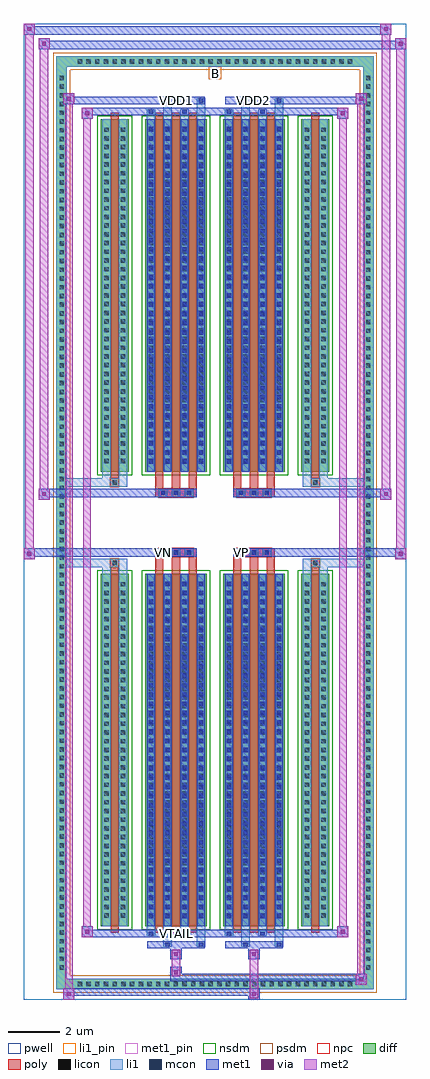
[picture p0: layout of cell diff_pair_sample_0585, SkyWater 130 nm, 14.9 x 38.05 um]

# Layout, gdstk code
import gdstk
lib = gdstk.Library(unit=1e-6, precision=5e-09)
def R(c, l, rs):  # rectangles x0, y0, x1, y1
    for r in rs: c.add(gdstk.rectangle(r[:2], r[2:], *l))
def A(c, l, x, y, w, h, nx, ny, dx, dy):  # array of equal rectangles
    R(c, l, [(x+i*dx, y+j*dy, x+i*dx+w, y+j*dy+h) for i in range(nx) for j in range(ny)])
def P(c, l, *ps):  # polygons
    for p in ps: c.add(gdstk.Polygon(p, *l))
pwell = (64, 44)
diff = (65, 20)
poly = (66, 20)
licon = (66, 44)
li1_pin = (67, 16)
li1 = (67, 20)
mcon = (67, 44)
met1_pin = (68, 16)
met1 = (68, 20)
via = (68, 44)
met2 = (69, 20)
nsdm = (93, 44)
psdm = (94, 20)
npc = (95, 20)

diff_pair_sample_0585 = lib.new_cell('diff_pair_sample_0585')
R(diff_pair_sample_0585, pwell, [(-7.45,-18.59,7.45,19.46), (-4.77,-16.78,-0.01,-0.8), (0.01,-16.78,4.77,-0.8), (-4.77,0.8,-0.01,16.78), (0.01,0.8,4.77,16.78)])
A(diff_pair_sample_0585, diff, -5.475, -18.19, 0.41, 0.41, 32, 2, 0.34, 35.97)
A(diff_pair_sample_0585, diff, -6.18, -17.545, 0.41, 0.41, 1, 103, 0, 0.34)
A(diff_pair_sample_0585, diff, 5.77, -17.545, 0.41, 0.41, 1, 103, 0, 0.34)
R(diff_pair_sample_0585, diff, [(-5.475,-18.19,5.475,-17.78), (-6.18,-17.545,-5.77,17.545), (5.77,-17.545,6.18,17.545), (-4.46,-15.735,-3.36,-1.985), (-2.72,-15.735,-0.32,-1.985), (0.32,-15.735,2.72,-1.985), (3.36,-15.735,4.46,-1.985), (-4.46,1.985,-3.36,15.735), (-2.72,1.985,-0.32,15.735), (0.32,1.985,2.72,15.735), (3.36,1.985,4.46,15.735), (-5.475,17.78,5.475,18.19)])
P(diff_pair_sample_0585, diff, [(6.18,18.19),(-6.18,18.19),(-6.18,-17.78),(-5.77,-17.78),(-5.77,17.78),(5.77,17.78),(5.77,-17.78),(-5.77,-17.78),(-6.18,-17.78),(-6.18,-18.19),(6.18,-18.19)])
A(diff_pair_sample_0585, poly, -2.33, -15.985, 0.32, 14.25, 3, 2, 0.65, 17.72)
A(diff_pair_sample_0585, poly, 0.71, -15.985, 0.32, 14.25, 3, 2, 0.65, 17.72)
A(diff_pair_sample_0585, poly, -2.33, -1.735, 0.32, 0.405, 3, 2, 0.65, 3.065)
A(diff_pair_sample_0585, poly, 0.71, -1.735, 0.32, 0.405, 3, 2, 0.65, 3.065)
A(diff_pair_sample_0585, poly, -2.185, -1.33, 0.33, 0.33, 3, 2, 0.5, 2.33)
A(diff_pair_sample_0585, poly, 0.855, -1.33, 0.33, 0.33, 3, 2, 0.5, 2.33)
R(diff_pair_sample_0585, poly, [(-4.07,-15.985,-3.75,-1.735), (3.75,-15.985,4.07,-1.735), (-4.075,-1.735,-3.745,-1.405), (-4.075,-1.735,-3.745,-1.405), (3.745,-1.735,4.075,-1.405), (3.745,-1.735,4.075,-1.405), (-2.33,-1.33,-0.71,-1), (0.71,-1.33,2.33,-1), (-2.33,1,-0.71,1.33), (0.71,1,2.33,1.33), (-4.075,1.405,-3.745,1.735), (-4.075,1.405,-3.745,1.735), (3.745,1.405,4.075,1.735), (3.745,1.405,4.075,1.735), (-4.07,1.735,-3.75,15.985), (3.75,1.735,4.07,15.985)])
A(diff_pair_sample_0585, licon, -5.355, -18.07, 0.17, 0.17, 32, 2, 0.34, 35.97)
A(diff_pair_sample_0585, licon, -6.06, -17.425, 0.17, 0.17, 1, 103, 0, 0.34)
A(diff_pair_sample_0585, licon, 5.89, -17.425, 0.17, 0.17, 1, 103, 0, 0.34)
A(diff_pair_sample_0585, licon, -4.32, -15.405, 0.17, 0.17, 1, 39, 0, 0.34)
A(diff_pair_sample_0585, licon, -3.67, -15.405, 0.17, 0.17, 1, 39, 0, 0.34)
A(diff_pair_sample_0585, licon, -2.58, -15.405, 0.17, 0.17, 4, 39, 0.65, 0.34)
A(diff_pair_sample_0585, licon, 0.46, -15.405, 0.17, 0.17, 4, 39, 0.65, 0.34)
A(diff_pair_sample_0585, licon, 3.5, -15.405, 0.17, 0.17, 1, 39, 0, 0.34)
A(diff_pair_sample_0585, licon, 4.15, -15.405, 0.17, 0.17, 1, 39, 0, 0.34)
A(diff_pair_sample_0585, licon, -2.105, -1.25, 0.17, 0.17, 3, 2, 0.5, 2.33)
A(diff_pair_sample_0585, licon, 0.935, -1.25, 0.17, 0.17, 3, 2, 0.5, 2.33)
A(diff_pair_sample_0585, licon, -4.32, 2.315, 0.17, 0.17, 1, 39, 0, 0.34)
A(diff_pair_sample_0585, licon, -3.67, 2.315, 0.17, 0.17, 1, 39, 0, 0.34)
A(diff_pair_sample_0585, licon, -2.58, 2.315, 0.17, 0.17, 4, 39, 0.65, 0.34)
A(diff_pair_sample_0585, licon, 0.46, 2.315, 0.17, 0.17, 4, 39, 0.65, 0.34)
A(diff_pair_sample_0585, licon, 3.5, 2.315, 0.17, 0.17, 1, 39, 0, 0.34)
A(diff_pair_sample_0585, licon, 4.15, 2.315, 0.17, 0.17, 1, 39, 0, 0.34)
R(diff_pair_sample_0585, licon, [(-3.995,-1.655,-3.825,-1.485), (3.825,-1.655,3.995,-1.485), (-3.995,1.485,-3.825,1.655), (3.825,1.485,3.995,1.655)])
R(diff_pair_sample_0585, li1_pin, [(-0.25,17.28,0.25,17.78)])
A(diff_pair_sample_0585, li1, -5.435, -18.15, 0.33, 0.33, 32, 2, 0.34, 35.97)
A(diff_pair_sample_0585, li1, -6.14, -17.505, 0.33, 0.33, 1, 103, 0, 0.34)
A(diff_pair_sample_0585, li1, 5.81, -17.505, 0.33, 0.33, 1, 103, 0, 0.34)
A(diff_pair_sample_0585, li1, -2.66, -15.735, 0.33, 13.75, 4, 2, 0.65, 17.72)
A(diff_pair_sample_0585, li1, 0.38, -15.735, 0.33, 13.75, 4, 2, 0.65, 17.72)
A(diff_pair_sample_0585, li1, -4.4, -15.485, 0.33, 0.33, 1, 39, 0, 0.34)
A(diff_pair_sample_0585, li1, -3.75, -15.485, 0.33, 0.33, 1, 39, 0, 0.34)
A(diff_pair_sample_0585, li1, -2.66, -15.485, 0.33, 0.33, 4, 39, 0.65, 0.34)
A(diff_pair_sample_0585, li1, 0.38, -15.485, 0.33, 0.33, 4, 39, 0.65, 0.34)
A(diff_pair_sample_0585, li1, 3.42, -15.485, 0.33, 0.33, 1, 39, 0, 0.34)
A(diff_pair_sample_0585, li1, 4.07, -15.485, 0.33, 0.33, 1, 39, 0, 0.34)
A(diff_pair_sample_0585, li1, -2.58, -15.425, 0.17, 0.17, 4, 37, 0.65, 0.36)
A(diff_pair_sample_0585, li1, -2.58, -15.425, 0.17, 13.13, 4, 2, 0.65, 17.72)
A(diff_pair_sample_0585, li1, 0.46, -15.425, 0.17, 0.17, 4, 37, 0.65, 0.36)
A(diff_pair_sample_0585, li1, 0.46, -15.425, 0.17, 13.13, 4, 2, 0.65, 17.72)
A(diff_pair_sample_0585, li1, -2.185, -1.33, 0.33, 0.33, 3, 2, 0.5, 2.33)
A(diff_pair_sample_0585, li1, 0.855, -1.33, 0.33, 0.33, 3, 2, 0.5, 2.33)
A(diff_pair_sample_0585, li1, -4.4, 2.235, 0.33, 0.33, 1, 39, 0, 0.34)
A(diff_pair_sample_0585, li1, -3.75, 2.235, 0.33, 0.33, 1, 39, 0, 0.34)
A(diff_pair_sample_0585, li1, -2.66, 2.235, 0.33, 0.33, 4, 39, 0.65, 0.34)
A(diff_pair_sample_0585, li1, 0.38, 2.235, 0.33, 0.33, 4, 39, 0.65, 0.34)
A(diff_pair_sample_0585, li1, 3.42, 2.235, 0.33, 0.33, 1, 39, 0, 0.34)
A(diff_pair_sample_0585, li1, 4.07, 2.235, 0.33, 0.33, 1, 39, 0, 0.34)
A(diff_pair_sample_0585, li1, -2.58, 2.295, 0.17, 0.17, 4, 37, 0.65, 0.36)
A(diff_pair_sample_0585, li1, 0.46, 2.295, 0.17, 0.17, 4, 37, 0.65, 0.36)
R(diff_pair_sample_0585, li1, [(-6.18,-18.19,-5.77,-17.78), (-6.18,-18.19,-5.77,-17.78), (-5.77,-18.19,5.77,-17.78), (5.77,-18.19,6.18,-17.78), (5.77,-18.19,6.18,-17.78), (-6.18,-17.78,-5.77,17.78), (5.77,-17.78,6.18,17.78), (-2.01,-16.54,-1.68,-15.735), (-1.93,-16.54,-1.76,-16.37), (-0.71,-16.54,-0.38,-15.735), (-0.63,-16.54,-0.46,-16.37), (1.03,-16.54,1.36,-15.735), (1.11,-16.54,1.28,-16.37), (2.33,-16.54,2.66,-15.735), (2.41,-16.54,2.58,-16.37), (-2.66,-16.11,-2.33,-15.735), (-2.58,-16.11,-2.41,-15.94), (-1.36,-16.11,-1.03,-15.735), (-1.28,-16.11,-1.11,-15.94), (0.38,-16.11,0.71,-15.735), (0.46,-16.11,0.63,-15.94), (1.68,-16.11,2.01,-15.735), (1.76,-16.11,1.93,-15.94), (-4.4,-15.735,-4.07,-1.985), (-3.75,-15.735,-3.42,-1.985), (3.42,-15.735,3.75,-1.985), (4.07,-15.735,4.4,-1.985), (-4.4,-1.985,-4.07,-1.405), (-3.75,-1.985,-3.42,-1.405), (3.42,-1.985,3.75,-1.405), (4.07,-1.985,4.4,-1.405), (-6.18,-1.735,-4.075,-1.405), (-4.4,-1.735,-4.075,-1.405), (-4.075,-1.735,-3.745,-1.405), (-3.745,-1.735,-3.42,-1.405), (3.42,-1.735,3.745,-1.405), (3.745,-1.735,4.075,-1.405), (3.745,-1.735,6.18,-1.405), (4.075,-1.735,4.4,-1.405), (-6.18,1.405,-4.075,1.735), (-4.4,1.405,-4.075,1.735), (-4.4,1.405,-4.07,1.985), (-4.075,1.405,-3.745,1.735), (-3.75,1.405,-3.42,1.985), (-3.745,1.405,-3.42,1.735), (3.42,1.405,3.745,1.735), (3.42,1.405,3.75,1.985), (3.745,1.405,4.075,1.735), (3.745,1.405,6.18,1.735), (4.07,1.405,4.4,1.985), (4.075,1.405,4.4,1.735), (-4.4,1.985,-4.07,15.735), (-3.75,1.985,-3.42,15.735), (3.42,1.985,3.75,15.735), (4.07,1.985,4.4,15.735), (-2.66,15.735,-2.33,16.11), (-2.01,15.735,-1.68,16.54), (-1.36,15.735,-1.03,16.11), (-0.71,15.735,-0.38,16.54), (0.38,15.735,0.71,16.11), (1.03,15.735,1.36,16.54), (1.68,15.735,2.01,16.11), (2.33,15.735,2.66,16.54), (-2.58,15.94,-2.41,16.11), (-1.28,15.94,-1.11,16.11), (0.46,15.94,0.63,16.11), (1.76,15.94,1.93,16.11), (-1.93,16.37,-1.76,16.54), (-0.63,16.37,-0.46,16.54), (1.11,16.37,1.28,16.54), (2.41,16.37,2.58,16.54), (-6.18,17.78,-5.77,18.19), (-6.18,17.78,-5.77,18.19), (-5.77,17.78,5.77,18.19), (5.77,17.78,6.18,18.19), (5.77,17.78,6.18,18.19)])
A(diff_pair_sample_0585, mcon, -2.58, -15.425, 0.17, 0.17, 4, 37, 0.65, 0.36)
A(diff_pair_sample_0585, mcon, 0.46, -15.425, 0.17, 0.17, 4, 37, 0.65, 0.36)
A(diff_pair_sample_0585, mcon, -2.105, -1.25, 0.17, 0.17, 3, 2, 0.5, 2.33)
A(diff_pair_sample_0585, mcon, 0.935, -1.25, 0.17, 0.17, 3, 2, 0.5, 2.33)
A(diff_pair_sample_0585, mcon, -2.58, 2.295, 0.17, 0.17, 4, 37, 0.65, 0.36)
A(diff_pair_sample_0585, mcon, 0.46, 2.295, 0.17, 0.17, 4, 37, 0.65, 0.36)
R(diff_pair_sample_0585, mcon, [(-1.93,-16.54,-1.76,-16.37), (-0.63,-16.54,-0.46,-16.37), (1.11,-16.54,1.28,-16.37), (2.41,-16.54,2.58,-16.37), (-2.58,-16.11,-2.41,-15.94), (-1.28,-16.11,-1.11,-15.94), (0.46,-16.11,0.63,-15.94), (1.76,-16.11,1.93,-15.94), (-2.58,15.94,-2.41,16.11), (-1.28,15.94,-1.11,16.11), (0.46,15.94,0.63,16.11), (1.76,15.94,1.93,16.11), (-1.93,16.37,-1.76,16.54), (-0.63,16.37,-0.46,16.54), (1.11,16.37,1.28,16.54), (2.41,16.37,2.58,16.54)])
R(diff_pair_sample_0585, met1_pin, [(-1.655,-16.15,-1.385,-15.88), (-2.155,-1.29,-1.885,-1.02), (0.885,-1.29,1.155,-1.02), (-1.655,16.33,-1.385,16.6), (1.385,16.33,1.655,16.6)])
A(diff_pair_sample_0585, met1, -2.64, -15.735, 0.29, 13.75, 4, 2, 0.65, 17.72)
A(diff_pair_sample_0585, met1, 0.4, -15.735, 0.29, 13.75, 4, 2, 0.65, 17.72)
A(diff_pair_sample_0585, met1, -2.64, -15.485, 0.29, 0.29, 4, 37, 0.65, 0.36)
A(diff_pair_sample_0585, met1, 0.4, -15.485, 0.29, 0.29, 4, 37, 0.65, 0.36)
A(diff_pair_sample_0585, met1, -2.165, -1.31, 0.29, 0.29, 3, 2, 0.5, 2.33)
A(diff_pair_sample_0585, met1, 0.875, -1.31, 0.29, 0.29, 3, 2, 0.5, 2.33)
A(diff_pair_sample_0585, met1, -2.64, 2.235, 0.29, 0.29, 4, 37, 0.65, 0.36)
A(diff_pair_sample_0585, met1, 0.4, 2.235, 0.29, 0.29, 4, 37, 0.65, 0.36)
R(diff_pair_sample_0585, met1, [(-5.91,-18.59,-5.48,-18.16), (1.305,-18.59,1.735,-18.16), (-5.91,-18.45,1.735,-18.16), (5.48,-18.02,5.91,-17.59), (-1.735,-17.88,5.91,-17.59), (-1.735,-17.74,-1.305,-17.31), (-1.735,-17.03,-1.305,-16.6), (1.305,-17.03,1.735,-16.6), (-2.64,-16.6,-0.4,-16.31), (-1.99,-16.6,-1.7,-16.31), (-0.69,-16.6,-0.4,-16.31), (0.4,-16.6,2.64,-16.31), (1.05,-16.6,1.34,-16.31), (2.35,-16.6,2.64,-16.31), (-5.2,-16.17,-4.77,-15.74), (-5.2,-16.17,-2.64,-15.88), (-2.64,-16.17,-2.35,-15.88), (-2.64,-16.17,-0.4,-15.88), (-1.34,-16.17,-1.05,-15.88), (-0.4,-16.17,0.4,-15.88), (0.4,-16.17,0.69,-15.88), (0.4,-16.17,2.64,-15.88), (1.7,-16.17,1.99,-15.88), (2.64,-16.17,5.2,-15.88), (4.77,-16.17,5.2,-15.74), (-7.45,-1.43,-7.02,-1), (7.02,-1.43,7.45,-1), (-7.45,-1.33,-0.71,-1), (-2.33,-1.33,-0.71,-1), (0.71,-1.33,2.33,-1), (0.71,-1.33,7.45,-1), (-6.88,0.9,-6.45,1.33), (6.45,0.9,6.88,1.33), (-6.88,1,-2.33,1.33), (-2.33,1,-0.71,1.33), (0.71,1,2.33,1.33), (2.33,1,6.88,1.33), (-5.2,15.74,-4.77,16.17), (4.77,15.74,5.2,16.17), (-5.2,15.88,-2.64,16.17), (-2.64,15.88,-2.35,16.17), (-2.64,15.88,-0.4,16.17), (-1.34,15.88,-1.05,16.17), (-0.4,15.88,0.4,16.17), (0.4,15.88,0.69,16.17), (0.4,15.88,2.64,16.17), (1.7,15.88,1.99,16.17), (2.64,15.88,5.2,16.17), (-5.91,16.31,-5.48,16.74), (-5.91,16.31,-2.64,16.6), (-2.64,16.31,-0.4,16.6), (-1.99,16.31,-1.7,16.6), (-0.69,16.31,-0.4,16.6), (0.4,16.31,2.64,16.6), (1.05,16.31,1.34,16.6), (2.35,16.31,2.64,16.6), (2.64,16.31,5.91,16.6), (5.48,16.31,5.91,16.74), (-6.88,18.46,-6.45,18.89), (-6.88,18.46,-4.77,18.79), (-4.77,18.46,4.77,18.79), (4.77,18.46,7.45,18.79), (7.02,18.46,7.45,18.89), (-7.45,19.03,-7.02,19.46), (-7.45,19.03,-4.77,19.36), (-4.77,19.03,4.77,19.36), (4.77,19.03,6.88,19.36), (6.45,19.03,6.88,19.46)])
R(diff_pair_sample_0585, via, [(-5.77,-18.45,-5.62,-18.3), (1.445,-18.45,1.595,-18.3), (5.62,-17.88,5.77,-17.73), (-1.595,-17.6,-1.445,-17.45), (-1.595,-16.89,-1.445,-16.74), (1.445,-16.89,1.595,-16.74), (-5.06,-16.03,-4.91,-15.88), (4.91,-16.03,5.06,-15.88), (-7.31,-1.29,-7.16,-1.14), (7.16,-1.29,7.31,-1.14), (-6.74,1.04,-6.59,1.19), (6.59,1.04,6.74,1.19), (-5.06,15.88,-4.91,16.03), (4.91,15.88,5.06,16.03), (-5.77,16.45,-5.62,16.6), (5.62,16.45,5.77,16.6), (-6.74,18.6,-6.59,18.75), (7.16,18.6,7.31,18.75), (-7.31,19.17,-7.16,19.32), (6.59,19.17,6.74,19.32)])
R(diff_pair_sample_0585, met2, [(-5.91,-18.59,-5.48,-18.16), (-5.84,-18.59,-5.55,16.74), (-5.55,-18.59,-5.48,-18.16), (-5.86,-18.54,-5.53,-18.21), (1.355,-18.54,1.685,-18.21), (1.355,-18.21,1.685,-16.98), (5.48,-18.02,5.91,-17.59), (5.55,-18.02,5.84,16.74), (5.84,-18.02,5.91,-17.59), (5.53,-17.97,5.86,-17.64), (-1.685,-17.69,-1.355,-17.36), (-1.685,-17.36,-1.355,-16.98), (-1.685,-16.98,-1.355,-16.65), (1.355,-16.98,1.685,-16.65), (-5.2,-16.17,-4.77,-15.74), (-5.13,-16.17,-4.84,16.17), (-4.84,-16.17,-4.77,-15.74), (4.77,-16.17,5.2,-15.74), (4.84,-16.17,5.13,16.17), (5.13,-16.17,5.2,-15.74), (-5.15,-16.12,-4.82,-15.79), (4.82,-16.12,5.15,-15.79), (-7.45,-1.43,-7.02,-1), (-7.4,-1.43,-7.07,19.46), (-7.07,-1.43,-7.02,-1), (7.02,-1.43,7.45,-1), (7.07,-1.43,7.4,18.89), (7.4,-1.43,7.45,-1), (-7.4,-1.38,-7.07,-1.05), (7.07,-1.38,7.4,-1.05), (-6.88,0.9,-6.45,1.33), (-6.83,0.9,-6.5,18.89), (-6.5,0.9,-6.45,1.33), (6.45,0.9,6.88,1.33), (6.5,0.9,6.83,19.46), (6.83,0.9,6.88,1.33), (-6.83,0.95,-6.5,1.28), (6.5,0.95,6.83,1.28), (-5.2,15.74,-4.77,16.17), (-4.84,15.74,-4.77,16.17), (4.77,15.74,5.2,16.17), (5.13,15.74,5.2,16.17), (-5.15,15.79,-4.82,16.12), (4.82,15.79,5.15,16.12), (-5.91,16.31,-5.48,16.74), (-5.55,16.31,-5.48,16.74), (5.48,16.31,5.91,16.74), (5.84,16.31,5.91,16.74), (-5.86,16.36,-5.53,16.69), (5.53,16.36,5.86,16.69), (-6.88,18.46,-6.45,18.89), (-6.5,18.46,-6.45,18.89), (7.02,18.46,7.45,18.89), (7.4,18.46,7.45,18.89), (-6.83,18.51,-6.5,18.84), (7.07,18.51,7.4,18.84), (-7.45,19.03,-7.02,19.46), (-7.07,19.03,-7.02,19.46), (6.45,19.03,6.88,19.46), (6.83,19.03,6.88,19.46), (-7.4,19.08,-7.07,19.41), (6.5,19.08,6.83,19.41)])
R(diff_pair_sample_0585, nsdm, [(-4.59,-15.865,-3.23,-1.855), (-2.85,-15.865,-0.19,-1.855), (0.19,-15.865,2.85,-1.855), (3.23,-15.865,4.59,-1.855), (-4.59,1.855,-3.23,15.865), (-2.85,1.855,-0.19,15.865), (0.19,1.855,2.85,15.865), (3.23,1.855,4.59,15.865)])
P(diff_pair_sample_0585, psdm, [(6.31,18.32),(-6.31,18.32),(-6.31,-17.65),(-5.64,-17.65),(-5.64,17.65),(5.64,17.65),(5.64,-17.65),(-5.64,-17.65),(-6.31,-17.65),(-6.31,-18.32),(6.31,-18.32)])
A(diff_pair_sample_0585, npc, -2.205, -1.35, 0.37, 0.37, 3, 2, 0.5, 2.33)
A(diff_pair_sample_0585, npc, 0.835, -1.35, 0.37, 0.37, 3, 2, 0.5, 2.33)
R(diff_pair_sample_0585, npc, [(-4.095,-1.755,-3.725,-1.385), (3.725,-1.755,4.095,-1.385), (-2.205,-1.35,-1.335,-0.98), (-2.205,-1.35,-1.335,-0.98), (-1.705,-1.35,-0.835,-0.98), (-1.705,-1.35,-0.835,-0.98), (0.835,-1.35,1.705,-0.98), (0.835,-1.35,1.705,-0.98), (1.335,-1.35,2.205,-0.98), (1.335,-1.35,2.205,-0.98), (-2.205,0.98,-1.335,1.35), (-2.205,0.98,-1.335,1.35), (-1.705,0.98,-0.835,1.35), (-1.705,0.98,-0.835,1.35), (0.835,0.98,1.705,1.35), (0.835,0.98,1.705,1.35), (1.335,0.98,2.205,1.35), (1.335,0.98,2.205,1.35), (-4.095,1.385,-3.725,1.755), (3.725,1.385,4.095,1.755)])
diff_pair_sample_0585.add(gdstk.Label('VTAIL', (-1.52,-16.015), layer=68, texttype=5))
diff_pair_sample_0585.add(gdstk.Label('VN', (-2.02,-1.155), layer=68, texttype=5))
diff_pair_sample_0585.add(gdstk.Label('VP', (1.02,-1.155), layer=68, texttype=5))
diff_pair_sample_0585.add(gdstk.Label('B', (0,17.53), layer=67, texttype=5))
diff_pair_sample_0585.add(gdstk.Label('VDD2', (1.52,16.465), layer=68, texttype=5))
diff_pair_sample_0585.add(gdstk.Label('VDD1', (-1.52,16.465), layer=68, texttype=5))

lib.write_gds('diff_pair_sample_0585.gds')
